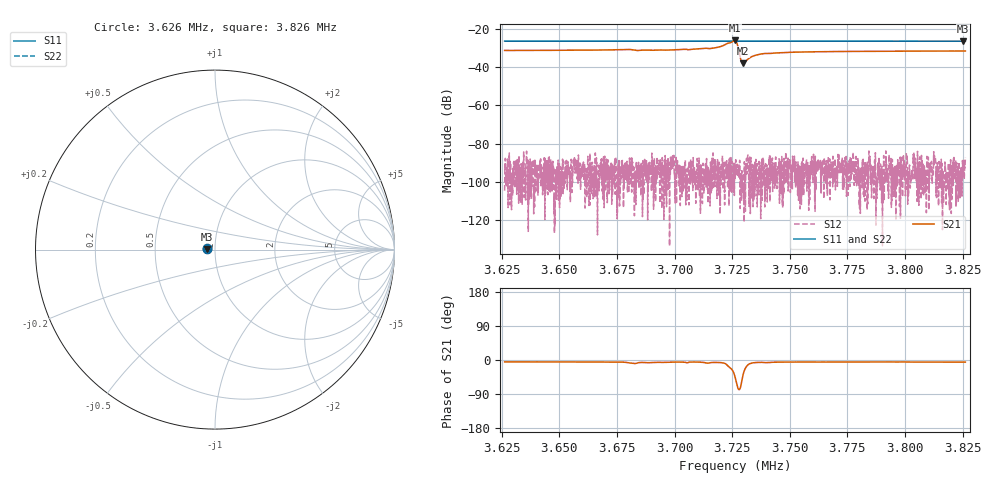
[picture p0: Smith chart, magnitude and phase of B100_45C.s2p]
# Hz S dB R 50.000
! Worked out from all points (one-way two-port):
!   6401 points, 3.626 MHz to 3.826 MHz, reference 50 ohm
!   highest |S21| = -26.13 dB at 3.726 MHz (marker M1); lowest = -38.1 dB at 3.73 MHz (marker M2)
!   lowest |S11| = -26.5 dB at 3.825 MHz (marker M3), VSWR 1.10, Z = 45.5 + j0.227 ohm
!   |S11| at or under -10 dB: start of sweep to end of sweep
!   |S22| runs from -26.6 to -26.5 dB; largest |S21 - S12| = 0.049
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3626250  -26.49 175.2  -31.34 -4.9  -104.65 53.8  -26.54 169.9
3659594  -26.50 175.5  -31.21 -5.3  -95.69 3.9  -26.56 170.2
3679625  -26.51 175.6  -30.80 -6.9  -101.36 53.9  -26.56 170.3
3684062  -26.51 175.7  -31.39 -7.4  -94.20 -30.6  -26.57 170.4
3692938  -26.51 175.8  -31.16 -6.0  -95.58 -8.8  -26.57 170.5
3715938  -26.52 176.0  -30.30 -6.8  -95.78 -164.1  -26.59 170.7
3719844  -26.51 176.0  -29.38 -6.8  -106.90 -73.3  -26.59 170.7
3725562  -26.52 176.0  -26.44 -31.8  -97.77 -147.0  -26.59 170.8
3726250  -26.51 176.0  -26.13 -44.1  -98.19 18.4  -26.59 170.8
3726688  -26.52 176.0  -26.50 -55.2  -91.23 18.6  -26.59 170.8
3727094  -26.52 176.0  -27.55 -65.7  -94.66 -10.5  -26.59 170.8
3727531  -26.52 176.0  -29.43 -74.6  -96.40 75.9  -26.58 170.8
3728750  -26.52 176.0  -36.16 -69.3  -96.29 58.0  -26.59 170.8
3729156  -26.52 176.1  -37.58 -57.1  -100.03 -67.1  -26.59 170.8
3729594  -26.52 176.1  -38.09 -43.8  -104.42 76.4  -26.58 170.8
3730344  -26.52 176.0  -37.52 -27.2  -91.03 71.5  -26.59 170.8
3733906  -26.52 176.1  -34.40 -7.7  -90.88 -26.2  -26.59 170.9
3738062  -26.52 176.2  -33.11 -6.3  -109.63 -24.8  -26.59 170.9
3759594  -26.53 176.3  -32.07 -5.3  -89.33 107.4  -26.60 171.1
3792938  -26.53 176.6  -31.79 -4.9  -105.74 140.1  -26.61 171.3
3825312  -26.55 177.0  -31.65 -5.4  -92.40 28.6  -26.62 171.7
3826250  -26.54 177.0  -31.63 -5.5  -87.04 7.6  -26.63 171.7
